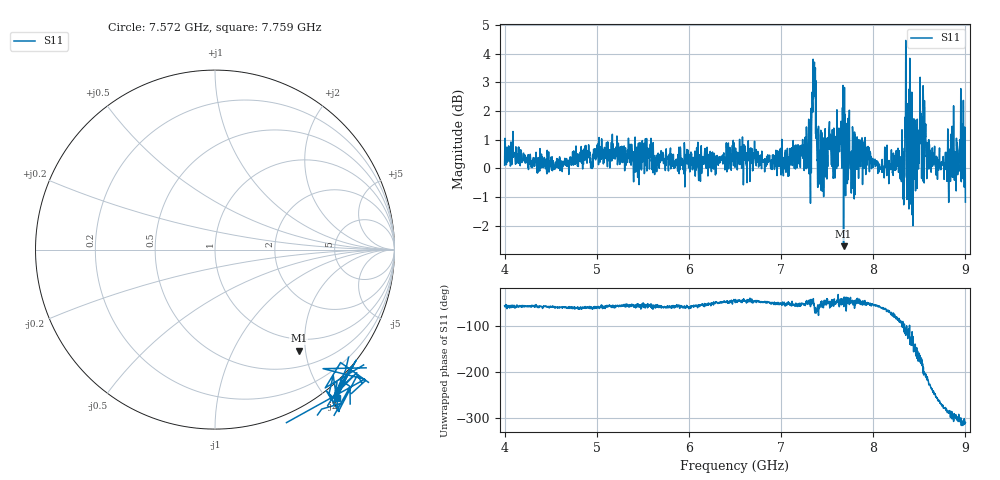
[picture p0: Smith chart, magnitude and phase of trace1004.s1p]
! Created with skrf 1.8.0 (http://scikit-rf.org).
# Hz S RI R 50.0
!freq ReS11 ImS11
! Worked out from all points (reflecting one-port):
!   1601 points, 4 GHz to 9 GHz, reference 50 ohm
!   lowest |S11| = -2.7 dB at 7.678 GHz (marker M1), VSWR 6.46, Z = 38.6 - j93.7 ohm
!   phase of S11 starts at -56 deg and turns -253 deg over the sweep
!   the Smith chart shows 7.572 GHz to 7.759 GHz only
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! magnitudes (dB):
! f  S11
! 4 GHz  0.1
! 4.625 GHz  -0.1
! 5.25 GHz  0.1
! 5.875 GHz  0.2
! 6.5 GHz  0.0
! 7.038 GHz  0.3
! 7.125 GHz  0.6
! 7.303 GHz  -0.2
! 7.356 GHz  2.6
! 7.412 GHz  -0.3
! 7.459 GHz  0.6
! 7.534 GHz  1.2
! 7.578 GHz  0.5
! 7.65 GHz  1.6
! 7.678 GHz  -2.7
! 7.703 GHz  0.9
! 7.75 GHz  0.4
! 8.316 GHz  0.5
! 8.334 GHz  0.3
! 8.375 GHz  1.1
! 8.447 GHz  1.6
! 8.522 GHz  1.3
! 8.597 GHz  0.4
! 8.722 GHz  0.0
! 8.903 GHz  1.0
! 8.959 GHz  1.6
! 8.972 GHz  0.8
! 9 GHz  -1.2
